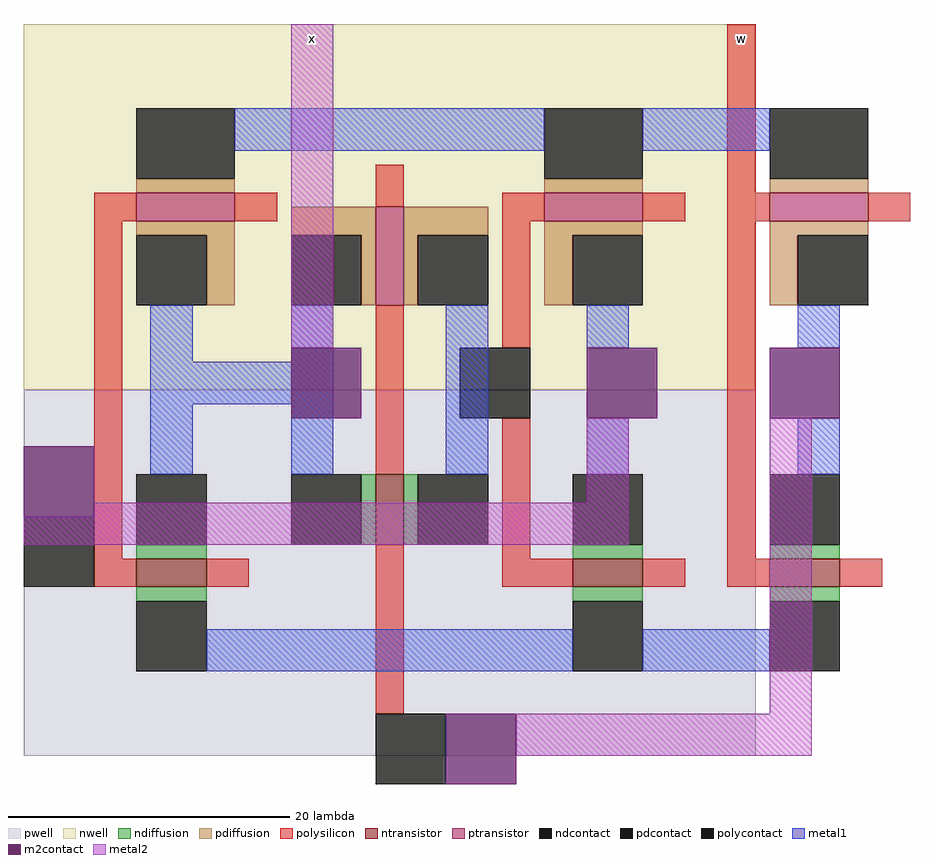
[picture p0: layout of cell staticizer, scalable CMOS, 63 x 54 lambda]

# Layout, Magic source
magic
tech scmos
<< nwell >>
rect -13 17 39 43
<< pwell >>
rect -13 -9 39 17
<< ntransistor >>
rect -5 3 0 5
rect 26 3 31 5
rect 40 3 45 5
<< ptransistor >>
rect -5 29 2 31
rect 24 29 31 31
rect 40 29 47 31
<< ndiffusion >>
rect -5 5 0 6
rect 26 5 31 6
rect 40 5 45 6
rect -5 2 0 3
rect 26 2 31 3
rect 40 2 45 3
<< pdiffusion >>
rect -5 31 2 32
rect 24 31 31 32
rect 40 31 47 32
rect -5 28 2 29
rect 0 23 2 28
rect 24 28 31 29
rect 24 23 26 28
rect 40 28 47 29
rect 40 23 42 28
<< ndcontact >>
rect -5 6 0 11
rect 26 6 31 11
rect 40 6 45 11
rect -5 -3 0 2
rect 26 -3 31 2
rect 40 -3 45 2
<< pdcontact >>
rect -5 32 2 37
rect 24 32 31 37
rect 40 32 47 37
rect -5 23 0 28
rect 26 23 31 28
rect 42 23 47 28
<< polysilicon >>
rect 37 31 39 43
rect -8 29 -5 31
rect 2 29 5 31
rect 21 29 24 31
rect 31 29 34 31
rect 37 29 40 31
rect 47 29 50 31
rect -8 5 -6 29
rect 21 20 23 29
rect 21 5 23 15
rect 37 5 39 29
rect -8 3 -5 5
rect 0 3 3 5
rect 12 -6 14 4
rect 21 3 26 5
rect 31 3 34 5
rect 37 3 40 5
rect 45 3 48 5
<< polycontact >>
rect -13 3 -8 8
rect 18 15 23 20
rect 12 -11 17 -6
<< metal1 >>
rect 2 34 24 37
rect 31 34 40 37
rect -4 19 -1 23
rect 27 20 30 23
rect 42 20 45 23
rect -4 16 6 19
rect -4 11 -1 16
rect 27 11 30 15
rect 42 11 45 15
rect 0 -3 26 0
rect 31 -3 40 0
<< m2contact >>
rect -13 8 -8 13
rect 6 15 11 20
rect 27 15 32 20
rect 40 15 45 20
rect 17 -11 22 -6
<< metal2 >>
rect 6 20 9 43
rect 27 9 30 15
rect -8 8 30 9
rect -13 6 30 8
rect 40 -6 43 15
rect 22 -9 43 -6
use trans  trans_0
transform 1 0 9 0 1 22
box -9 -22 17 14
<< labels >>
rlabel metal2 6 41 9 43 1 x
rlabel polysilicon 37 41 39 43 1 w
<< end >>

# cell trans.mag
magic
tech scmos
<< nwell >>
rect -9 -5 17 14
<< pwell >>
rect -9 -22 17 -5
<< ntransistor >>
rect 3 -16 5 -11
<< ptransistor >>
rect 3 1 5 8
<< ndiffusion >>
rect 2 -16 3 -11
rect 5 -16 6 -11
<< pdiffusion >>
rect -3 6 3 8
rect 2 1 3 6
rect 5 6 11 8
rect 5 1 6 6
<< ndcontact >>
rect -3 -16 2 -11
rect 6 -16 11 -11
<< pdcontact >>
rect -3 1 2 6
rect 6 1 11 6
<< polysilicon >>
rect 3 8 5 11
rect 3 -11 5 1
rect 3 -20 5 -16
<< metal1 >>
rect -3 -11 0 1
rect 8 -11 11 1
<< end >>
